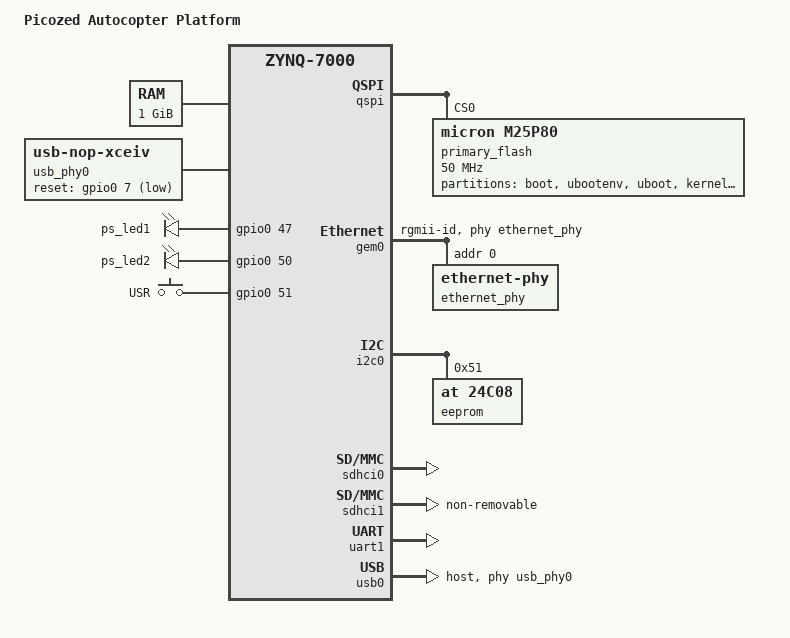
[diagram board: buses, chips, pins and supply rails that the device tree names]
/dts-v1/;
/include/ "zynq-7000.dtsi"

/ {
    model = "Picozed Autocopter Platform";
    compatible = "avnet,picozed", "xlnx,zynq-7000";

    aliases {
        ethernet0 = &gem0;
        serial0 = &uart1;
        serial1 = &uart0;
    };

    memory {
        device_type = "memory";
        reg = <0x0 0x40000000>;
    };

    chosen {
        bootargs = "earlyprintk";
        stdout-path = "serial0:115200n8";
    };

    usb_phy0: phy0 {
        compatible = "usb-nop-xceiv";
        #phy-cells = <0>;
        reset-gpios = <&gpio0 7 1>; /* MIO 7, GPIO_ACTIVE_LOW */
    };

    leds {
        compatible = "gpio-leds";
        ps_led1 {
            label = "ps_led1";
            gpios = <&gpio0 47 0>;
            linux,default-trigger = "heartbeat";
        };

        ps_led2 {
            label = "ps_led2";
            gpios = <&gpio0 50 0>;
            linux,default-trigger = "mmc0";
        };
    };

    gpio_keys {
        compatible = "gpio-keys";
        #address-cells = <1>;
        #size-cells = <0>;
        autorepeat;
        usr {
            label = "USR";
            linux,code = <65>; // "A"
            gpios = <&gpio0 51 0>;
        };
    };
};

&amba {
    /* empty defintion for kernels that don't have qspi node */
    qspi: spi@e000d000 { };
};

&gem0 {
    status = "okay";
    phy-mode = "rgmii-id";
    phy-handle = <&ethernet_phy>;

    ethernet_phy: ethernet-phy@0 {
        reg = <0>;
    };
};

&i2c0 {
	status = "okay";

	/* 24AA025E48T-I/OT I2C MAC Address device */
	eeprom@51 {
		compatible = "at,24c08";
		reg = <0x51>;
	};
};

&sdhci0 {
    status = "okay";
};

&sdhci1 {
    status = "okay";
    /* SD1 is onnected to a non-removable eMMC flash device */
    non-removable;
};

&uart1 {
    status = "okay";
};

&usb0 {
    status = "okay";
    dr_mode = "host";
    usb-phy = <&usb_phy0>;
};

&qspi {
    status = "okay";
    primary_flash: ps7-qspi@0 {
        #address-cells = <1>;
        #size-cells = <1>;
        compatible = "micron,m25p80", "spansion,s25fl128s", "jedec,spi-nor";
        reg = <0x0>;
        spi-max-frequency = <50000000>;
        /* Example 16M partition table using U-Boot + U-Boot SPL */
        partition@0x0 {
            label = "boot";
            reg = <0x0 0xe0000>;
        };
        partition@0xe0000 {
            label = "ubootenv";
            reg = <0xe0000 0x20000>;
        };
        partition@0x100000 {
            label = "uboot";
            reg = <0x100000 0x100000>;
        };
        partition@0x200000 {
            label = "kernel";
            reg = <0x200000 0x4f0000>;
        };
        partition@0x6f0000 {
            label = "devicetree";
            reg = <0x6f0000 0x10000>;
        };
        partition@0x700000 {
            label = "rootfs";
            reg = <0x700000 0x400000>;
        };
        partition@0xb00000 {
            label = "spare";
            reg = <0xb00000 0x500000>;
        };
    };
};
